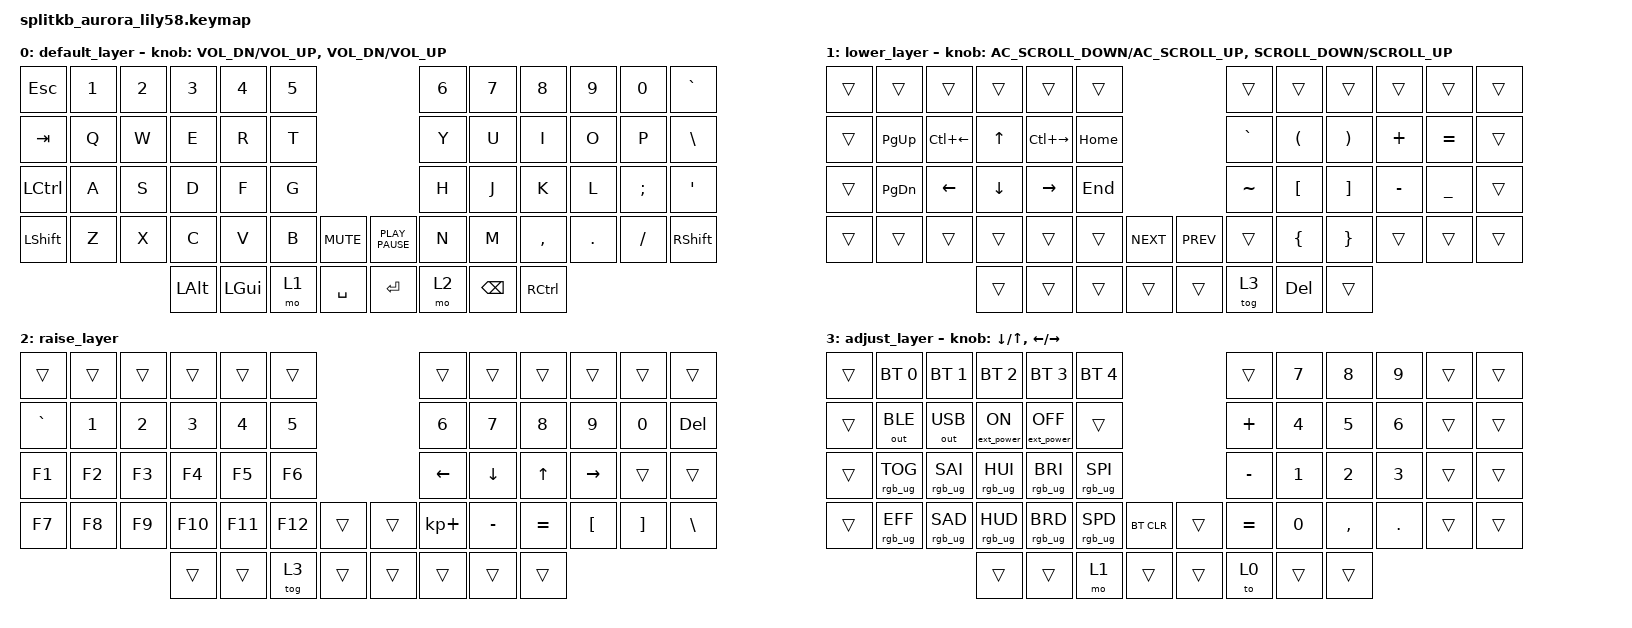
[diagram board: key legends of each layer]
/*
 * Copyright (c) 2022 The ZMK Contributors
 *
 * SPDX-License-Identifier: MIT
 */

#include <behaviors.dtsi>
#include <dt-bindings/zmk/bt.h>
#include <dt-bindings/zmk/ext_power.h>
#include <dt-bindings/zmk/keys.h>
#include <dt-bindings/zmk/outputs.h>
#include <dt-bindings/zmk/rgb.h>

&led_strip { chain-length = <34>; };

/ {
    keymap {
        compatible = "zmk,keymap";

        default_layer {
            // ------------------------------------------------------------------------------------------------------------
            // |  ESC  |  1  |  2  |  3   |  4   |  5   |                   |  6   |  7    |  8    |  9   |   0   |   `   |
            // |  TAB  |  Q  |  W  |  E   |  R   |  T   |                   |  Y   |  U    |  I    |  O   |   P   |   -   |
            // |  CTRL |  A  |  S  |  D   |  F   |  G   |                   |  H   |  J    |  K    |  L   |   ;   |   '   |
            // | SHIFT |  Z  |  X  |  C   |  V   |  B   |   "["  |  |  "]"  |  N   |  M    |  ,    |  .   |   /   | SHIFT |
            //                     | ALT  | GUI  | LOWER|  SPACE |  | ENTER | RAISE| BSPC  | GUI   |

            bindings = <
&kp ESC    &kp N1  &kp N2  &kp N3    &kp N4    &kp N5                                  &kp N6  &kp N7    &kp N8     &kp N9   &kp N0    &kp GRAVE
&kp TAB    &kp Q   &kp W   &kp E     &kp R     &kp T                                   &kp Y   &kp U     &kp I      &kp O    &kp P     &kp BACKSLASH
&kp LCTRL  &kp A   &kp S   &kp D     &kp F     &kp G                                   &kp H   &kp J     &kp K      &kp L    &kp SEMI  &kp SQT
&kp LSHFT  &kp Z   &kp X   &kp C     &kp V     &kp B   &kp K_MUTE    &kp K_PLAY_PAUSE  &kp N   &kp M     &kp COMMA  &kp DOT  &kp FSLH  &kp RSHFT
                           &kp LALT  &kp LGUI  &mo 1   &kp SPACE     &kp RET           &mo 2   &kp BSPC  &kp RCTRL
            >;

            sensor-bindings =
                <&inc_dec_kp C_VOL_DN C_VOL_UP>,
                <&inc_dec_kp C_VOL_DN C_VOL_UP>;
        };

        lower_layer {
            // ------------------------------------------------------------------------------------------------------------
            // | BTCLR | BT1 | BT2 |  BT3 |  BT4 |  BT5 |                   |      |       |       |      |       |       |
            // |  F1   |  F2 |  F3 |  F4  |  F5  |  F6  |                   |  F7  |  F8   |  F9   |  F10 |  F11  |  F12  |
            // |   `   |  !  |  @  |  #   |  $   |  %   |                   |  ^   |  &    |  *    |  (   |   )   |   ~   |
            // |       |     |     |      |      |      |        |  |       |      |  _    |  +    |  {   |   }   |  "|"  |
            //                     |      |      |      |        |  |       |      |       |       |

            bindings = <
&trans  &trans         &trans          &trans          &trans           &trans                              &trans     &trans                &trans                 &trans     &trans     &trans
&trans  &kp PAGE_UP    &kp LC(LEFT)    &kp UP_ARROW    &kp LC(RIGHT)    &kp HOME                            &kp GRAVE  &kp LEFT_PARENTHESIS  &kp RIGHT_PARENTHESIS  &kp PLUS   &kp EQUAL  &trans
&trans  &kp PAGE_DOWN  &kp LEFT_ARROW  &kp DOWN_ARROW  &kp RIGHT_ARROW  &kp END                             &kp TILDE  &kp LEFT_BRACKET      &kp RIGHT_BRACKET      &kp MINUS  &kp UNDER  &trans
&trans  &trans         &trans          &trans          &trans           &trans    &kp K_NEXT    &kp K_PREV  &trans     &kp LEFT_BRACE        &kp RIGHT_BRACE        &trans     &trans     &trans
                                       &trans          &trans           &trans    &trans        &trans      &tog 3     &kp DEL               &trans
            >;

            sensor-bindings =
                <&inc_dec_kp C_AC_SCROLL_DOWN C_AC_SCROLL_UP>,
                <&inc_dec_kp K_SCROLL_DOWN K_SCROLL_UP>;
        };

        raise_layer {
            // ------------------------------------------------------------------------------------------------------------
            // |       |     |     |      |      |      |                   |      |       |       |      |       |       |
            // |   `   |  1  |  2  |  3   |  4   |  5   |                   |  6   |   7   |   8   |  9   |   0   |       |
            // |   F1  |  F2 |  F3 |  F4  |  F5  |  F6  |                   |      |   <-  |   v   |  ^   |  ->   |       |
            // |   F7  |  F8 |  F9 |  F10 |  F11 |  F12 |        |  |       |  +   |   -   |   =   |  [   |   ]   |   \   |
            //                     |      |      |      |        |  |       |      |       |       |

            bindings = <
&trans     &trans  &trans  &trans   &trans   &trans                     &trans          &trans          &trans        &trans           &trans    &trans
&kp GRAVE  &kp N1  &kp N2  &kp N3   &kp N4   &kp N5                     &kp N6          &kp N7          &kp N8        &kp N9           &kp N0    &kp DEL
&kp F1     &kp F2  &kp F3  &kp F4   &kp F5   &kp F6                     &kp LEFT_ARROW  &kp DOWN_ARROW  &kp UP_ARROW  &kp RIGHT_ARROW  &trans    &trans
&kp F7     &kp F8  &kp F9  &kp F10  &kp F11  &kp F12  &trans    &trans  &kp KP_PLUS     &kp MINUS       &kp EQUAL     &kp LBKT         &kp RBKT  &kp BSLH
                           &trans   &trans   &tog 3   &trans    &trans  &trans          &trans          &trans
            >;
        };

        adjust_layer {
            bindings = <
&trans  &bt BT_SEL 0     &bt BT_SEL 1     &bt BT_SEL 2      &bt BT_SEL 3       &bt BT_SEL 4                           &trans     &kp N7  &kp N8     &kp N9        &trans  &trans
&trans  &out OUT_BLE     &out OUT_USB     &ext_power EP_ON  &ext_power EP_OFF  &trans                                 &kp PLUS   &kp N4  &kp N5     &kp NUMBER_6  &trans  &trans
&trans  &rgb_ug RGB_TOG  &rgb_ug RGB_SAI  &rgb_ug RGB_HUI   &rgb_ug RGB_BRI    &rgb_ug RGB_SPI                        &kp MINUS  &kp N1  &kp N2     &kp N3        &trans  &trans
&trans  &rgb_ug RGB_EFF  &rgb_ug RGB_SAD  &rgb_ug RGB_HUD   &rgb_ug RGB_BRD    &rgb_ug RGB_SPD  &bt BT_CLR    &trans  &kp EQUAL  &kp N0  &kp COMMA  &kp PERIOD    &trans  &trans
                                          &trans            &trans             &mo 1            &trans        &trans  &to 0      &trans  &trans
            >;

            sensor-bindings =
                <&inc_dec_kp DOWN_ARROW UP_ARROW>,
                <&inc_dec_kp LEFT_ARROW RIGHT_ARROW>;
        };
    };
};
